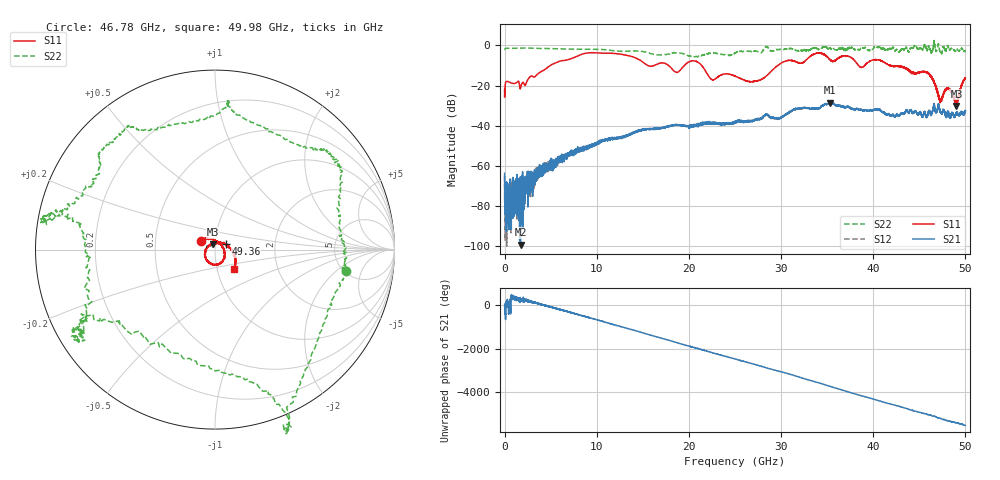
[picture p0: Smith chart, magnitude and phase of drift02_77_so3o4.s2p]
!Created with skrf (http://scikit-rf.org).
# Hz S RI R 50.0
!freq ReS11 ImS11 ReS21 ImS21 ReS12 ImS12 ReS22 ImS22
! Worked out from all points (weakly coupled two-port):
!   10001 points, 300 kHz to 50 GHz, reference 50 ohm
!   highest |S21| = -28.45 dB at 35.31 GHz (marker M1); lowest = -99.1 dB at 1.725 GHz (marker M2)
!   lowest |S11| = -30.1 dB at 49.03 GHz (marker M3), VSWR 1.06, Z = 48.8 + j2.84 ohm
!   |S11| at or under -10 dB: start of sweep to 4.956 GHz; 21.38 GHz to 29.63 GHz (8.245 GHz wide, 32.3 % of centre); 41.85 GHz to end of sweep (the widest 3 of 9)
!   |S22| runs from -5.7 to 2.4 dB; largest |S21 - S12| = 0.0041
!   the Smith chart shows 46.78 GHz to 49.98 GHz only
!   S11 on the Smith chart (normalised r, x): 46.78 GHz: 0.85, +0.09; 49.36 GHz: 1.13, +0.07; 49.98 GHz: 1.21, -0.26
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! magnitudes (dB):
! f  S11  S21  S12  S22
! 300 kHz  -22.0  -63.6  -64.9  -2.1
! 260.3 MHz  -17.9  -78.7  -69.9  -1.4
! 1.725 GHz  -21.3  -99.1  -71.6  -1.4
! 3.73 GHz  -13.7  -62.8  -61.7  -1.5
! 8.335 GHz  -4.5  -52.4  -52.3  -1.9
! 16.67 GHz  -9.1  -41.5  -41.3  -4.7
! 18.7 GHz  -13.5  -39.5  -39.6  -3.7
! 20.6 GHz  -7.7  -40.1  -40.3  -5.7
! 22.52 GHz  -17.1  -39.0  -38.5  -3.7
! 25 GHz  -15.3  -38.6  -38.5  -3.9
! 27.5 GHz  -17.6  -36.5  -36.7  -3.3
! 33.34 GHz  -4.9  -31.4  -31.4  -1.6
! 35.31 GHz  -7.1  -28.4  -28.8  -1.4
! 41.67 GHz  -9.6  -34.2  -34.1  -1.9
! 45.79 GHz  -13.6  -35.6  -35.4  -2.4
! 46.78 GHz  -20.6  -32.6  -33.2  -2.6
! 47.27 GHz  -27.6  -32.6  -33.0  -3.3
! 48.11 GHz  -21.5  -33.3  -33.1  -0.6
! 49.03 GHz  -30.1  -33.2  -34.2  -1.9
! 49.36 GHz  -23.5  -34.7  -34.1  -2.7
! 49.98 GHz  -16.4  -32.5  -32.8  -2.7
! 50 GHz  -16.2  -32.4  -32.6  -2.7
